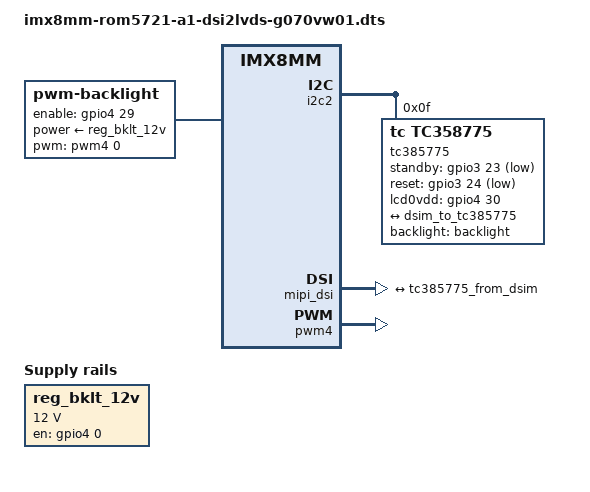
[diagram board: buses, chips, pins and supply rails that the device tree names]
#include "imx8mm-rom5721-a1.dts"
#include <dt-bindings/media/mipi_dsi.h>

/ {
	/delete-node/ rm67191_panel;

	reg_bklt_12v: regulator-bklt-12v {
			compatible = "regulator-fixed";
			regulator-name = "reg_bklt_12v";
			regulator-min-microvolt = <12000000>;
			regulator-max-microvolt = <12000000>;
			gpio = <&gpio4 0 GPIO_ACTIVE_HIGH>;
			enable-active-high;
	 };

	backlight: backlight@0 {
		compatible = "pwm-backlight";
		pwms = <&pwm4 0 1000000 0>;
		brightness-levels = < 0  1  2  3  4  5  6  7  8  9
				10 11 12 13 14 15 16 17 18 19
				20 21 22 23 24 25 26 27 28 29
				30 31 32 33 34 35 36 37 38 39
				40 41 42 43 44 45 46 47 48 49
				50 51 52 53 54 55 56 57 58 59
				60 61 62 63 64 65 66 67 68 69
				70 71 72 73 74 75 76 77 78 79
				80 81 82 83 84 85 86 87 88 89
				90 91 92 93 94 95 96 97 98 99
				100>;
		default-brightness-level = <80>;
	};
};

&src {
	compatible = "fsl,imx8mm-src", "fsl,imx8mq-src", "syscon", "simple-mfd";

	reboot_mode_gpr: reboot-mode {
		compatible = "barebox,syscon-reboot-mode";
		offset = <0x94>, <0x98>; /* SRC_GPR{9,10} */
		mask = <0xffffffff>, <0x40000000>;
		mode-normal = <0>, <0>;
		mode-serial = <0x00000010>, <0x40000000>;
	};
};

&i2c2 {
	/delete-node/ adv_bridge;

	tc385775@0f {
		compatible = "tc,tc358775";
		reg = <0x0f>;
		pinctrl-names = "default";
		pinctrl-0 = <&pinctrl_tc385775>;

		tc,dsi-flags = <(MIPI_DSI_MODE_VIDEO | MIPI_DSI_MODE_VIDEO_BURST | MIPI_DSI_MODE_LPM | MIPI_DSI_MODE_EOT_PACKET)>;
		tc,dsi-format = <MIPI_DSI_FMT_RGB888>;
		tc,dsi-lanes = <4>;
		status = "okay";

		standby-gpios = <&gpio3 23 GPIO_ACTIVE_LOW>;
		reset-gpios = <&gpio3 24 GPIO_ACTIVE_LOW>;
		lcd0vdd-gpios = <&gpio4 30 GPIO_ACTIVE_HIGH>;

		backlight = <&backlight>;

		display-timings {
			native-mode = <&timing0>;
			timing0: timing0 {
				clock-frequency = <29500000>;
				hactive = <800>;
				vactive = <480>;
				hfront-porch = <24>;
				hback-porch = <96>;
				hsync-len = <72>;
				vback-porch = <3>;
				vfront-porch = <10>;
				vsync-len = <7>;
			};
		};

		port {
			tc385775_from_dsim: endpoint {
				remote-endpoint = <&dsim_to_tc385775>;
			};
		};
	};
};

&mipi_dsi {

	/delete-node/ port@2;

	port@1 {
		/delete-node/ dsim_to_adv7535;

		dsim_to_tc385775: endpoint {
			remote-endpoint = <&tc385775_from_dsim>;
		};
	};
};

&iomuxc {
	pinctrl_pwm4: pwm4grp {
		fsl,pins = <
			MX8MM_IOMUXC_SAI3_MCLK_PWM4_OUT		0x06	/* LCD0_BKLT_PWM */
		>;
	};

	pinctrl_bklt: bkltgrp {
		fsl,pins = <
			MX8MM_IOMUXC_SAI1_RXFS_GPIO4_IO0	0x10	/* COLD_RST_EN */
			MX8MM_IOMUXC_SAI3_RXC_GPIO4_IO29	0x19	/* LCD0_BKLT_EN */
		>;
	};

	pinctrl_lcd0: lcd0grp {
		fsl,pins = <
			MX8MM_IOMUXC_SAI3_RXD_GPIO4_IO30	0x10	/* LCD0_VDD_EN */
		>;
	};

	pinctrl_tc385775: tc358775 {
		fsl,pins = <
			MX8MM_IOMUXC_SAI5_RXD2_GPIO3_IO23	0x19
			MX8MM_IOMUXC_SAI5_RXD3_GPIO3_IO24	0x19
			MX8MM_IOMUXC_SAI3_RXD_GPIO4_IO30	0x10
		>;
	};
};

&pwm4 {
	status = "okay";
	pinctrl-names = "default";
	pinctrl-0 = <&pinctrl_pwm4>;
};

&backlight {
	pinctrl-names = "default";
	pinctrl-0 = <&pinctrl_bklt>;
	power-supply = <&reg_bklt_12v>;
	enable-gpios = <&gpio4 29 GPIO_ACTIVE_HIGH>;
	status = "okay";
};

